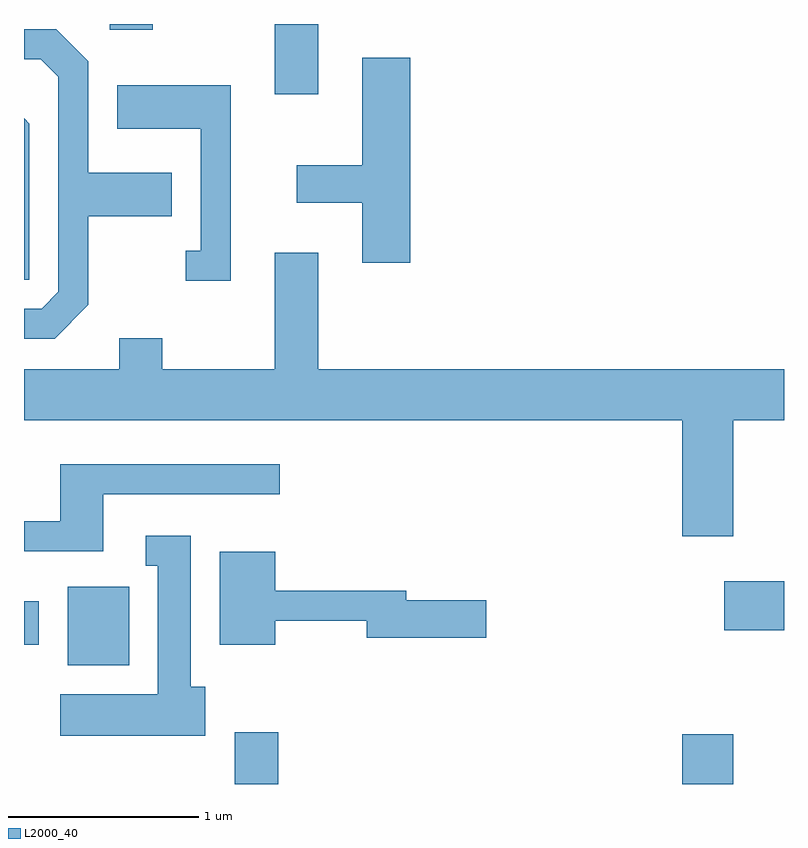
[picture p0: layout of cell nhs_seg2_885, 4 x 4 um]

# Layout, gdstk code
import gdstk
lib = gdstk.Library(unit=1e-6, precision=1e-09)
def R(c, l, rs):  # rectangles x0, y0, x1, y1
    for r in rs: c.add(gdstk.rectangle(r[:2], r[2:], *l))
def P(c, l, *ps):  # polygons
    for p in ps: c.add(gdstk.Polygon(p, *l))
L2000_40 = (2000, 40)

nhs_seg2_885 = lib.new_cell('nhs_seg2_885')
R(nhs_seg2_885, L2000_40, [(212.721,979.802,212.949,980.074), (215.076,979.802,215.344,980.064), (211.841,980.426,212.164,980.839), (211.611,980.536,211.689,980.764), (215.296,980.611,215.611,980.869), (212.931,983.431,213.159,983.802), (212.061,983.771,212.289,983.802)])
P(nhs_seg2_885, L2000_40, [(211.949,982.324),(211.949,982.791),(212.389,982.791),(212.389,983.019),(211.949,983.019),(211.949,983.607),(211.782,983.774),(211.611,983.774),(211.611,983.616),(211.699,983.616),(211.791,983.524),(211.791,982.392),(211.704,982.304),(211.611,982.304),(211.611,982.146),(211.772,982.146)],
  [(213.644,983.624),(213.391,983.624),(213.391,983.059),(213.046,983.059),(213.046,982.861),(213.391,982.861),(213.391,982.546),(213.644,982.546)],
  [(212.699,983.479),(212.101,983.479),(212.101,983.251),(212.541,983.251),(212.541,982.609),(212.463,982.609),(212.463,982.451),(212.699,982.451)],
  [(211.639,983.277),(211.611,983.305),(211.611,982.456),(211.639,982.456)],
  [(215.344,981.716),(215.611,981.716),(215.611,981.984),(213.159,981.984),(213.159,982.599),(212.931,982.599),(212.931,981.984),(212.339,981.984),(212.339,982.149),(212.111,982.149),(212.111,981.984),(211.611,981.984),(211.611,981.716),(215.076,981.716),(215.076,981.106),(215.344,981.106)],
  [(212.029,981.326),(212.958,981.326),(212.958,981.484),(211.801,981.484),(211.801,981.184),(211.611,981.184),(211.611,981.026),(212.029,981.026)],
  [(212.564,980.314),(212.489,980.314),(212.489,981.109),(212.253,981.109),(212.253,980.951),(212.316,980.951),(212.316,980.274),(211.801,980.274),(211.801,980.056),(212.564,980.056)],
  [(212.934,980.661),(213.416,980.661),(213.416,980.571),(214.044,980.571),(214.044,980.769),(213.624,980.769),(213.624,980.819),(212.934,980.819),(212.934,981.024),(212.641,981.024),(212.641,980.536),(212.934,980.536)])

lib.write_gds('nhs_seg2_885.gds')
